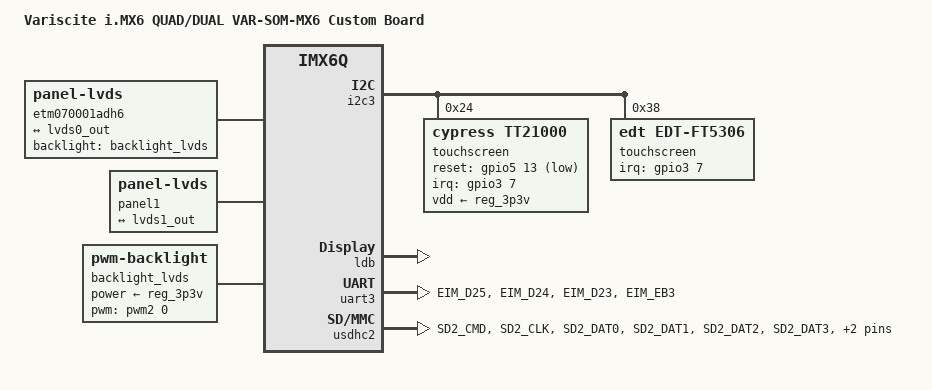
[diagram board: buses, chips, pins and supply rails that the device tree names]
// SPDX-License-Identifier: GPL-2.0+
/*
 * Support for Variscite MX6 Carrier-board
 *
 * Copyright 2016 Variscite, Ltd. All Rights Reserved
 * Copyright 2022 Bootlin
 */

/dts-v1/;

#include "imx6qdl-var-som.dtsi"
#include <dt-bindings/pwm/pwm.h>

/ {
	model = "Variscite i.MX6 QUAD/DUAL VAR-SOM-MX6 Custom Board";
	compatible = "variscite,mx6customboard", "variscite,var-som-imx6q", "fsl,imx6q";

	panel0: lvds-panel0 {
		compatible =  "panel-lvds";
		backlight = <&backlight_lvds>;
		width-mm = <152>;
		height-mm = <91>;
		label = "etm070001adh6";
		data-mapping = "jeida-18";

		panel-timing {
			clock-frequency = <32000000>;
			hactive = <800>;
			vactive = <480>;
			hback-porch = <39>;
			hfront-porch = <39>;
			vback-porch = <29>;
			vfront-porch = <13>;
			hsync-len = <47>;
			vsync-len = <2>;
		};

		port {
			panel_in_lvds0: endpoint {
				remote-endpoint = <&lvds0_out>;
			};
		};
	};

	panel1: lvds-panel1 {
		compatible =  "panel-lvds";
		width-mm = <152>;
		height-mm = <91>;
		data-mapping = "jeida-18";

		panel-timing {
			clock-frequency = <38251000>;
			hactive = <800>;
			vactive = <600>;
			hback-porch = <112>;
			hfront-porch = <32>;
			vback-porch = <3>;
			vfront-porch = <17>;
			hsync-len = <80>;
			vsync-len = <4>;
		};

		port {
			panel_in_lvds1: endpoint {
				remote-endpoint = <&lvds1_out>;
			};
		};
	};

	backlight_lvds: backlight-lvds {
		compatible = "pwm-backlight";
		pwms = <&pwm2 0 50000 0>;
		brightness-levels = <0 4 8 16 32 64 128 248>;
		default-brightness-level = <7>;
		power-supply = <&reg_3p3v>;
	};
};

&i2c3 {
	pinctrl-names = "default";
	pinctrl-0 = <&pinctrl_i2c3>;
	status = "okay";

	touchscreen@24 {
		compatible = "cypress,tt21000";
		reg = <0x24>;
		interrupt-parent = <&gpio3>;
		interrupts = <7 IRQ_TYPE_EDGE_FALLING>;
		reset-gpios = <&gpio5 13 GPIO_ACTIVE_LOW>;
		vdd-supply = <&reg_3p3v>;
		touchscreen-size-x = <880>;
		touchscreen-size-y = <1280>;
	};

	touchscreen@38 {
		compatible = "edt,edt-ft5306";
		reg = <0x38>;
		interrupt-parent = <&gpio3>;
		interrupts = <7 IRQ_TYPE_EDGE_FALLING>;
		touchscreen-size-x = <1800>;
		touchscreen-size-y = <1000>;
	};
};

&iomuxc {
	pinctrl_camera: cameragrp {
		fsl,pins = <
			MX6QDL_PAD_CSI0_DAT12__IPU1_CSI0_DATA12		0x1b0b0
			MX6QDL_PAD_CSI0_DAT13__IPU1_CSI0_DATA13		0x1b0b0
			MX6QDL_PAD_CSI0_DAT14__IPU1_CSI0_DATA14		0x1b0b0
			MX6QDL_PAD_CSI0_DAT15__IPU1_CSI0_DATA15		0x1b0b0
			MX6QDL_PAD_CSI0_DAT16__IPU1_CSI0_DATA16		0x1b0b0
			MX6QDL_PAD_CSI0_DAT17__IPU1_CSI0_DATA17		0x1b0b0
			MX6QDL_PAD_CSI0_DAT18__IPU1_CSI0_DATA18		0x1b0b0
			MX6QDL_PAD_CSI0_DAT19__IPU1_CSI0_DATA19		0x1b0b0
			MX6QDL_PAD_CSI0_DATA_EN__IPU1_CSI0_DATA_EN	0x1b0b0
			MX6QDL_PAD_CSI0_PIXCLK__IPU1_CSI0_PIXCLK	0x1b0b0
			MX6QDL_PAD_CSI0_MCLK__IPU1_CSI0_HSYNC		0x1b0b0
			MX6QDL_PAD_CSI0_VSYNC__IPU1_CSI0_VSYNC		0x1b0b0
		>;
	};

	pinctrl_flexcan1: flexcan1grp {
		fsl,pins = <
			MX6QDL_PAD_GPIO_7__FLEXCAN1_TX		0x1b0b0
			MX6QDL_PAD_GPIO_8__FLEXCAN1_RX		0x1b0b0
		>;
	};

	pinctrl_ipu1: ipu1grp {
		fsl,pins = <
			MX6QDL_PAD_DI0_DISP_CLK__IPU1_DI0_DISP_CLK	0x10
			MX6QDL_PAD_DI0_PIN15__IPU1_DI0_PIN15		0x10
			MX6QDL_PAD_DI0_PIN2__IPU1_DI0_PIN02		0x10
			MX6QDL_PAD_DI0_PIN3__IPU1_DI0_PIN03		0x10
			MX6QDL_PAD_DI0_PIN4__IPU1_DI0_PIN04		0x10
			MX6QDL_PAD_DISP0_DAT0__IPU1_DISP0_DATA00	0x10
			MX6QDL_PAD_DISP0_DAT1__IPU1_DISP0_DATA01	0x10
			MX6QDL_PAD_DISP0_DAT2__IPU1_DISP0_DATA02	0x10
			MX6QDL_PAD_DISP0_DAT3__IPU1_DISP0_DATA03	0x10
			MX6QDL_PAD_DISP0_DAT4__IPU1_DISP0_DATA04	0x10
			MX6QDL_PAD_DISP0_DAT5__IPU1_DISP0_DATA05	0x10
			MX6QDL_PAD_DISP0_DAT6__IPU1_DISP0_DATA06	0x10
			MX6QDL_PAD_DISP0_DAT7__IPU1_DISP0_DATA07	0x10
			MX6QDL_PAD_DISP0_DAT8__IPU1_DISP0_DATA08	0x10
			MX6QDL_PAD_DISP0_DAT9__IPU1_DISP0_DATA09	0x10
			MX6QDL_PAD_DISP0_DAT10__IPU1_DISP0_DATA10	0x10
			MX6QDL_PAD_DISP0_DAT11__IPU1_DISP0_DATA11	0x10
			MX6QDL_PAD_DISP0_DAT12__IPU1_DISP0_DATA12	0x10
			MX6QDL_PAD_DISP0_DAT13__IPU1_DISP0_DATA13	0x10
			MX6QDL_PAD_DISP0_DAT14__IPU1_DISP0_DATA14	0x10
			MX6QDL_PAD_DISP0_DAT15__IPU1_DISP0_DATA15	0x10
			MX6QDL_PAD_DISP0_DAT16__IPU1_DISP0_DATA16	0x10
			MX6QDL_PAD_DISP0_DAT17__IPU1_DISP0_DATA17	0x10
			MX6QDL_PAD_DISP0_DAT18__IPU1_DISP0_DATA18	0x10
			MX6QDL_PAD_DISP0_DAT19__IPU1_DISP0_DATA19	0x10
			MX6QDL_PAD_DISP0_DAT20__IPU1_DISP0_DATA20	0x10
			MX6QDL_PAD_DISP0_DAT21__IPU1_DISP0_DATA21	0x10
			MX6QDL_PAD_DISP0_DAT22__IPU1_DISP0_DATA22	0x10
			MX6QDL_PAD_DISP0_DAT23__IPU1_DISP0_DATA23	0x10
		>;
	};

	pinctrl_uart3: uart3grp {
		fsl,pins = <
			MX6QDL_PAD_EIM_D25__UART3_RX_DATA	0x1b0b1
			MX6QDL_PAD_EIM_D24__UART3_TX_DATA	0x1b0b1
			MX6QDL_PAD_EIM_D23__UART3_CTS_B		0x1b0b1
			MX6QDL_PAD_EIM_EB3__UART3_RTS_B		0x1b0b1
		>;
	};

	pinctrl_usbotg_var: usbotggrp {
		fsl,pins = <
			MX6QDL_PAD_GPIO_4__GPIO1_IO04		0x17059
		>;
	};

	pinctrl_usdhc1: usdhc1grp {
		fsl,pins = <
			MX6QDL_PAD_SD1_CMD__SD1_CMD		0x17071
			MX6QDL_PAD_SD1_CLK__SD1_CLK		0x10071
			MX6QDL_PAD_SD1_DAT0__SD1_DATA0		0x17071
			MX6QDL_PAD_SD1_DAT1__SD1_DATA1		0x17071
			MX6QDL_PAD_SD1_DAT2__SD1_DATA2		0x17071
			MX6QDL_PAD_SD1_DAT3__SD1_DATA3		0x17071
		>;
	};

	pinctrl_usdhc2: usdhc2grp {
		fsl,pins = <
			MX6QDL_PAD_SD2_CMD__SD2_CMD		0x17059
			MX6QDL_PAD_SD2_CLK__SD2_CLK		0x10059
			MX6QDL_PAD_SD2_DAT0__SD2_DATA0		0x17059
			MX6QDL_PAD_SD2_DAT1__SD2_DATA1		0x17059
			MX6QDL_PAD_SD2_DAT2__SD2_DATA2		0x17059
			MX6QDL_PAD_SD2_DAT3__SD2_DATA3		0x17059
		>;
	};
};

&ldb {
	status = "okay";

	lvds-channel@0 {
		fsl,data-mapping = "spwg";
		fsl,data-width = <24>;
		status = "okay";

		port@4 {
			reg = <4>;

			lvds0_out: endpoint {
				remote-endpoint = <&panel_in_lvds0>;
			};
		};
	};

	lvds-channel@1 {
		fsl,data-mapping = "spwg";
		fsl,data-width = <24>;
		status = "okay";

		port@4 {
			reg = <4>;

			lvds1_out: endpoint {
				remote-endpoint = <&panel_in_lvds1>;
			};
		};
	};
};

&uart3 {
	pinctrl-names = "default";
	pinctrl-0 = <&pinctrl_uart3>;
	uart-has-rtscts;
	status = "okay";
};

&usdhc2 {
	pinctrl-names = "default";
	pinctrl-0 = <&pinctrl_usdhc2>;
	cd-gpios = <&gpio4 14 GPIO_ACTIVE_LOW>;
	wp-gpios = <&gpio4 15 GPIO_ACTIVE_HIGH>;
	status = "okay";
};
